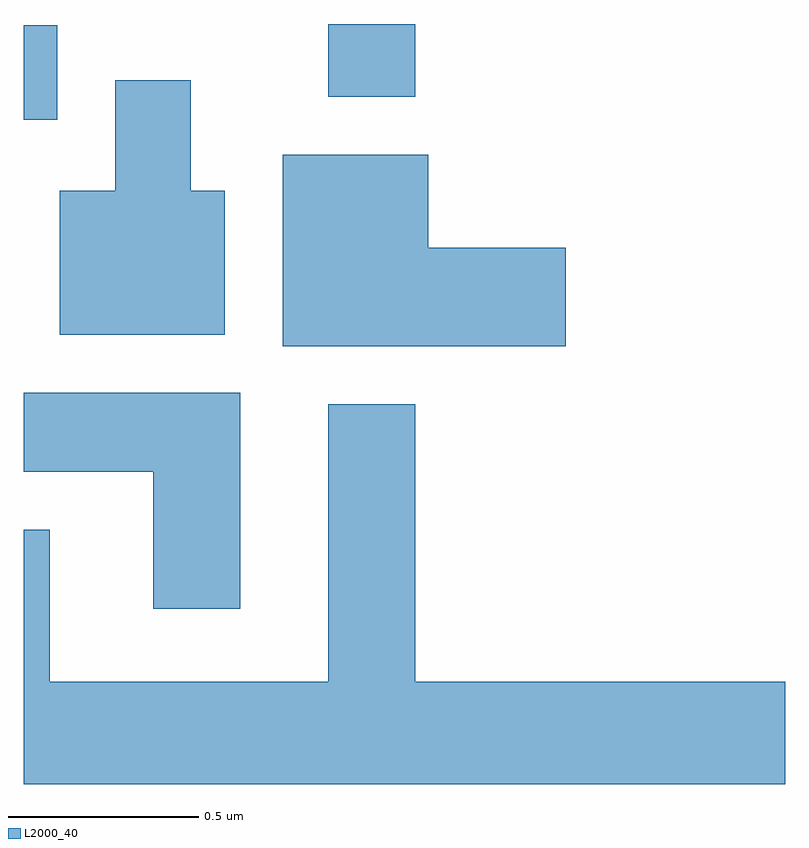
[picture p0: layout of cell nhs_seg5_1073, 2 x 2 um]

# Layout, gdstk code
import gdstk
lib = gdstk.Library(unit=1e-6, precision=1e-09)
def R(c, l, rs):  # rectangles x0, y0, x1, y1
    for r in rs: c.add(gdstk.rectangle(r[:2], r[2:], *l))
def P(c, l, *ps):  # polygons
    for p in ps: c.add(gdstk.Polygon(p, *l))
L2000_40 = (2000, 40)

nhs_seg5_1073 = lib.new_cell('nhs_seg5_1073')
R(nhs_seg5_1073, L2000_40, [(192.611,1511.821,192.699,1512.069), (193.411,1511.881,193.639,1512.072)])
P(nhs_seg5_1073, L2000_40, [(193.139,1511.634),(193.049,1511.634),(193.049,1511.924),(192.851,1511.924),(192.851,1511.634),(192.706,1511.634),(192.706,1511.256),(193.139,1511.256)],
  [(194.034,1511.484),(193.674,1511.484),(193.674,1511.729),(193.291,1511.729),(193.291,1511.226),(194.034,1511.226)],
  [(193.179,1511.104),(192.611,1511.104),(192.611,1510.896),(192.951,1510.896),(192.951,1510.536),(193.179,1510.536)],
  [(194.611,1510.344),(193.639,1510.344),(193.639,1511.074),(193.411,1511.074),(193.411,1510.344),(192.679,1510.344),(192.679,1510.744),(192.611,1510.744),(192.611,1510.076),(194.611,1510.076)])

lib.write_gds('nhs_seg5_1073.gds')
